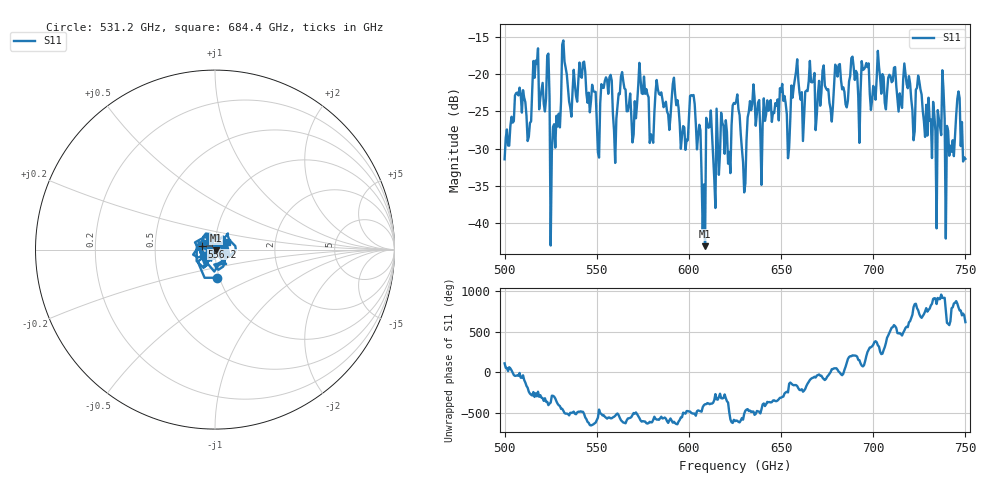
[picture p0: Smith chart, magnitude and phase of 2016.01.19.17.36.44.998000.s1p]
!Created with skrf (http://scikit-rf.org).
# GHz S RI R 50.0
!freq ReS11 ImS11
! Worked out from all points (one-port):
!   401 points, 500 GHz to 750 GHz, reference 50 ohm
!   lowest |S11| = -43.0 dB at 608.8 GHz (marker M1), VSWR 1.01, Z = 50.6 - j0.361 ohm
!   |S11| at or under -10 dB: start of sweep to end of sweep
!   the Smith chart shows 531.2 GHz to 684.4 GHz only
!   S11 on the Smith chart (normalised r, x): 531.2 GHz: 0.97, -0.31; 556.2 GHz: 0.87, +0.03; 684.4 GHz: 1.13, +0.09
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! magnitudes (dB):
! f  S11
! 500 GHz  -31.4
! 506.9 GHz  -22.5
! 513.1 GHz  -28.4
! 516.9 GHz  -18.2
! 523.1 GHz  -17.5
! 526.2 GHz  -27.1
! 531.2 GHz  -16.1
! 550.6 GHz  -30.5
! 556.2 GHz  -22.7
! 560 GHz  -31.9
! 562.5 GHz  -22.7
! 593.8 GHz  -23.5
! 601.9 GHz  -22.9
! 608.8 GHz  -43.0
! 610.6 GHz  -27.2
! 615 GHz  -24.6
! 625 GHz  -24.0
! 630 GHz  -35.9
! 634.4 GHz  -24.0
! 656.2 GHz  -23.2
! 684.4 GHz  -22.4
! 687.5 GHz  -20.3
! 718.8 GHz  -21.9
! 733.1 GHz  -25.4
! 737.5 GHz  -19.5
! 740.6 GHz  -27.6
! 745.6 GHz  -23.3
! 750 GHz  -31.4
